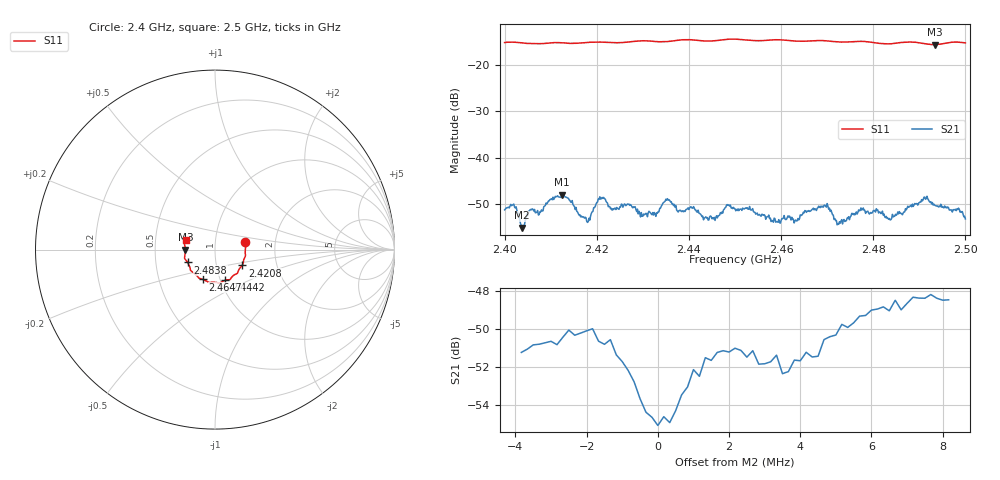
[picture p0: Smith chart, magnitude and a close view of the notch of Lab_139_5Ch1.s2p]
# Hz S RI R 50
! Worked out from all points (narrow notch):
!   601 points, 2.4 GHz to 2.5 GHz, reference 50 ohm
!   highest |S21| = -47.99 dB at 2.4125 GHz (marker M1); lowest = -55.1 dB at 2.4038 GHz (marker M2)
!   notch at M2: 3.7 dB deep, 1.36 MHz wide at half that depth
!   lowest |S11| = -15.7 dB at 2.4933 GHz (marker M3), VSWR 1.40, Z = 35.8 + j0.033 ohm
!   |S11| at or under -10 dB: start of sweep to end of sweep
!   S12 and S22 are empty: the file has one direction only
!   S11 on the Smith chart (normalised r, x): 2.4 GHz: 1.40, +0.12; 2.4208 GHz: 1.33, -0.24; 2.4442 GHz: 1.05, -0.37; 2.4647 GHz: 0.83, -0.29; 2.4838 GHz: 0.73, -0.11; 2.5 GHz: 0.71, +0.08
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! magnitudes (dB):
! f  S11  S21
! 2.4 GHz  -15.2  -51.2
! 2.4022 GHz  -15.1  -50.6
! 2.4038 GHz  -15.3  -55.1
! 2.4125 GHz  -15.3  -48.0
! 2.4167 GHz  -15.3  -52.5
! 2.4183 GHz  -15.2  -53.0
! 2.4208 GHz  -15.1  -48.9
! 2.4333 GHz  -15.0  -51.6
! 2.4355 GHz  -15.0  -49.1
! 2.4442 GHz  -14.9  -53.4
! 2.45 GHz  -14.5  -51.0
! 2.4593 GHz  -14.6  -53.9
! 2.4647 GHz  -14.9  -52.1
! 2.4667 GHz  -14.8  -51.2
! 2.4698 GHz  -14.8  -50.6
! 2.4723 GHz  -15.1  -54.2
! 2.4773 GHz  -14.9  -50.8
! 2.4833 GHz  -15.5  -53.3
! 2.4838 GHz  -15.5  -53.3
! 2.4913 GHz  -15.5  -48.9
! 2.4933 GHz  -15.7  -50.2
! 2.5 GHz  -15.3  -53.2
